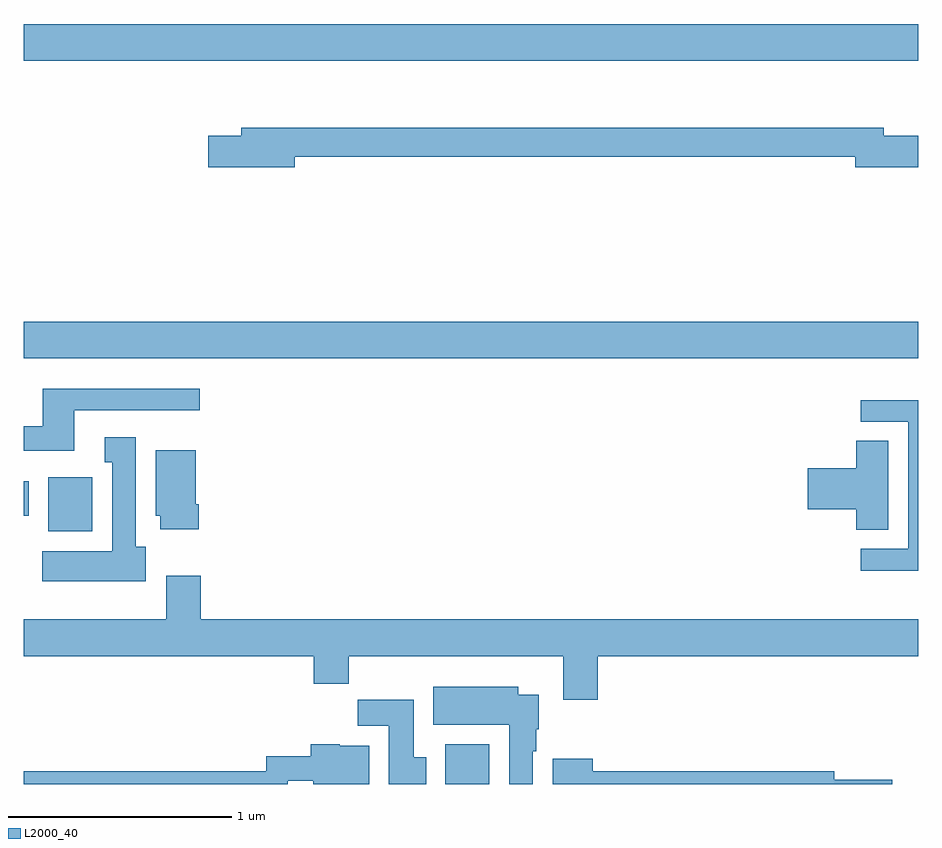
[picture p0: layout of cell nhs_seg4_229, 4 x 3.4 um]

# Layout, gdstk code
import gdstk
lib = gdstk.Library(unit=1e-6, precision=1e-09)
def R(c, l, rs):  # rectangles x0, y0, x1, y1
    for r in rs: c.add(gdstk.rectangle(r[:2], r[2:], *l))
def P(c, l, *ps):  # polygons
    for p in ps: c.add(gdstk.Polygon(p, *l))
L2000_40 = (2000, 40)

nhs_seg4_229 = lib.new_cell('nhs_seg4_229')
R(nhs_seg4_229, L2000_40, [(122.885,810.9,123.082,811.078), (121.109,812.03,121.306,812.272), (121,812.1,121.021,812.254), (121,812.804,125,812.968), (121,814.136,125,814.3)])
P(nhs_seg4_229, L2000_40, [(122.212,813.706),(124.718,813.706),(124.718,813.659),(125,813.659),(125,813.801),(124.846,813.801),(124.846,813.835),(121.973,813.835),(121.973,813.801),(121.824,813.801),(121.824,813.659),(122.212,813.659)],
  [(121.225,812.571),(121.786,812.571),(121.786,812.668),(121.085,812.668),(121.085,812.5),(121,812.5),(121,812.39),(121.225,812.39)],
  [(125,812.616),(124.743,812.616),(124.743,812.52),(124.956,812.52),(124.956,811.953),(124.743,811.953),(124.743,811.855),(125,811.855)],
  [(121.546,811.962),(121.501,811.962),(121.501,812.452),(121.361,812.452),(121.361,812.339),(121.394,812.339),(121.394,811.942),(121.082,811.942),(121.082,811.808),(121.546,811.808)],
  [(124.867,812.435),(124.724,812.435),(124.724,812.312),(124.506,812.312),(124.506,812.129),(124.724,812.129),(124.724,812.038),(124.867,812.038)],
  [(121.781,812.152),(121.768,812.152),(121.768,812.392),(121.589,812.392),(121.589,812.1),(121.61,812.1),(121.61,812.04),(121.781,812.04)],
  [(123.566,811.472),(125,811.472),(125,811.636),(121.79,811.636),(121.79,811.831),(121.637,811.831),(121.637,811.636),(121,811.636),(121,811.472),(122.297,811.472),(122.297,811.348),(122.453,811.348),(122.453,811.472),(123.413,811.472),(123.413,811.278),(123.566,811.278)],
  [(123.277,811.046),(123.292,811.046),(123.292,811.146),(123.304,811.146),(123.304,811.3),(123.211,811.3),(123.211,811.336),(122.831,811.336),(122.831,811.166),(123.17,811.166),(123.17,810.9),(123.277,810.9)],
  [(122.8,811.02),(122.743,811.02),(122.743,811.278),(122.494,811.278),(122.494,811.16),(122.633,811.16),(122.633,810.9),(122.8,810.9)],
  [(122.181,810.914),(122.294,810.914),(122.294,810.9),(122.545,810.9),(122.545,811.072),(122.412,811.072),(122.412,811.078),(122.282,811.078),(122.282,811.024),(122.085,811.024),(122.085,810.956),(121,810.956),(121,810.9),(122.181,810.9)],
  [(124.885,810.92),(124.624,810.92),(124.624,810.956),(123.544,810.956),(123.544,811.012),(123.365,811.012),(123.365,810.9),(124.885,810.9)])

lib.write_gds('nhs_seg4_229.gds')
